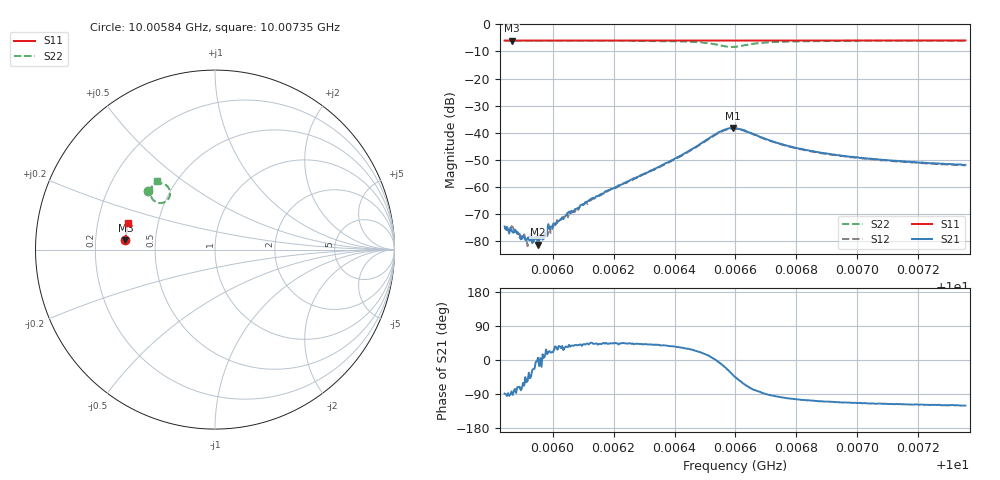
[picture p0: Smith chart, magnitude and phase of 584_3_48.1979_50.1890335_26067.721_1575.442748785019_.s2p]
#  HZ  S  RI  R  50.00
! Rohde & Schwarz Vector Network Analyzer
! Rohde-Schwarz,ZNB20-2Port,1311601062101988,3.16
! Created: UTC 3/20/2024, 12:02:14 PM
! freq[Hz]  re:S11  im:S11  re:S21  im:S21  re:S12  im:S12  re:S22  im:S22
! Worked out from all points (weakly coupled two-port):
!   401 points, 10.00584 GHz to 10.00735 GHz, reference 50 ohm
!   highest |S21| = -38.21 dB at 10.00659 GHz (marker M1); lowest = -81.2 dB at 10.00595 GHz (marker M2)
!   lowest |S11| = -6.0 dB at 10.00587 GHz (marker M3), VSWR 3.02, Z = 16.6 + j2.33 ohm
!   |S11| at or under -10 dB: nowhere
!   |S22| runs from -8.3 to -6.0 dB; largest |S21 - S12| = 0.00092
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1.0005843e10  -0.4995 0.051  4.72e-06 -0.000189  9.9e-06 -0.000167  -0.3759 0.3266
1.0005865e10  -0.4993 0.0525  2.01e-05 -0.000161  -5.56e-06 -0.000191  -0.3745 0.3279
1.0005873e10  -0.4993 0.0529  2.01e-05 -0.000144  4.13e-05 -0.000158  -0.374 0.3283
1.0005884e10  -0.4994 0.0536  4.76e-05 -0.000143  1.45e-05 -0.000136  -0.3734 0.329
1.0005895e10  -0.4992 0.0544  1.94e-05 -0.000108  5.24e-05 -0.000118  -0.373 0.3297
1.0005911e10  -0.4993 0.0554  7.46e-05 -7.54e-05  2.22e-05 -0.000111  -0.3721 0.3307
1.0005929e10  -0.4991 0.0567  0.000102 -9.47e-05  0.000123 -7.47e-05  -0.3711 0.3318
1.0005952e10  -0.499 0.0582  8.71e-05 9.23e-06  0.000138 -5.39e-05  -0.3698 0.3334
1.0005975e10  -0.4988 0.0595  0.000144 2.55e-05  0.000116 4.48e-05  -0.3686 0.3349
1.000599e10  -0.4987 0.0606  0.000154 6.71e-05  0.00018 3.74e-05  -0.3675 0.336
1.0006013e10  -0.4986 0.0621  0.000179 0.000116  0.000187 0.000122  -0.3662 0.3374
1.0006096e10  -0.4982 0.0675  0.000379 0.000289  0.000333 0.000305  -0.3608 0.3432
1.0006179e10  -0.4975 0.0728  0.000624 0.000582  0.000552 0.000623  -0.3544 0.349
1.0006349e10  -0.4959 0.084  0.00184 0.00151  0.00173 0.00154  -0.3335 0.3632
1.0006478e10  -0.4945 0.0924  0.00544 0.00224  0.0052 0.00248  -0.2922 0.3679
1.0006549e10  -0.4931 0.0967  0.0104 -0.00152  0.0102 -0.000863  -0.2508 0.3254
1.0006591e10  -0.4926 0.0986  0.00958 -0.0077  0.00978 -0.00682  -0.27 0.2715
1.0006598e10  -0.4925 0.099  0.00865 -0.00856  0.00908 -0.00787  -0.2794 0.2654
1.0006682e10  -0.4924 0.1042  0.000852 -0.0083  0.0011 -0.00823  -0.3521 0.2873
1.0006852e10  -0.4906 0.1154  -0.00137 -0.00442  -0.00114 -0.00434  -0.3553 0.338
1.0007105e10  -0.4871 0.1313  -0.00136 -0.0028  -0.00121 -0.00282  -0.3399 0.3644
1.0007354e10  -0.4831 0.1471  -0.00131 -0.00223  -0.00116 -0.00224  -0.3258 0.3801
